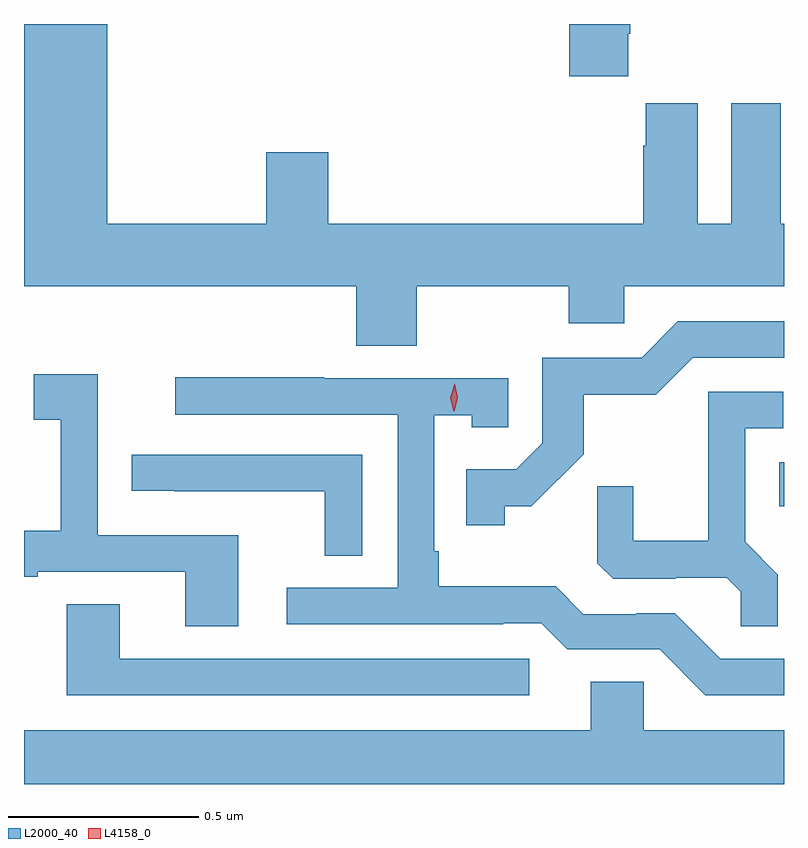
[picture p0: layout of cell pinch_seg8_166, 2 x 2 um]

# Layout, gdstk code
import gdstk
lib = gdstk.Library(unit=1e-6, precision=1e-09)
def R(c, l, rs):  # rectangles x0, y0, x1, y1
    for r in rs: c.add(gdstk.rectangle(r[:2], r[2:], *l))
def P(c, l, *ps):  # polygons
    for p in ps: c.add(gdstk.Polygon(p, *l))
L2000_40 = (2000, 40)
L4158_0 = (4158, 0)

pinch_seg8_166 = lib.new_cell('pinch_seg8_166')
R(pinch_seg8_166, L2000_40, [(657.866,1146.557,657.879,1146.673)])
P(pinch_seg8_166, L2000_40, [(657.469,1147.801),(657.474,1147.801),(657.474,1147.826),(657.314,1147.826),(657.314,1147.689),(657.469,1147.689)],
  [(656.913,1147.136),(657.313,1147.136),(657.313,1147.038),(657.459,1147.038),(657.459,1147.136),(657.879,1147.136),(657.879,1147.3),(657.871,1147.3),(657.871,1147.618),(657.74,1147.618),(657.74,1147.3),(657.652,1147.3),(657.652,1147.618),(657.515,1147.618),(657.515,1147.505),(657.509,1147.505),(657.509,1147.3),(656.68,1147.3),(656.68,1147.489),(656.516,1147.489),(656.516,1147.3),(656.098,1147.3),(656.098,1147.826),(655.879,1147.826),(655.879,1147.136),(656.753,1147.136),(656.753,1146.979),(656.913,1146.979)],
  [(657.144,1146.557),(657.214,1146.557),(657.352,1146.694),(657.352,1146.85),(657.541,1146.85),(657.639,1146.948),(657.879,1146.948),(657.879,1147.044),(657.6,1147.044),(657.504,1146.948),(657.243,1146.948),(657.243,1146.723),(657.174,1146.654),(657.043,1146.654),(657.043,1146.507),(657.144,1146.507)],
  [(656.443,1146.48),(656.073,1146.48),(656.073,1146.904),(655.905,1146.904),(655.905,1146.784),(655.976,1146.784),(655.976,1146.493),(655.88,1146.493),(655.88,1146.48),(655.879,1146.48),(655.879,1146.372),(655.915,1146.372),(655.915,1146.384),(656.303,1146.384),(656.303,1146.241),(656.443,1146.241)],
  [(657.879,1146.156),(657.711,1146.156),(657.591,1146.276),(657.49,1146.276),(657.49,1146.273),(657.351,1146.273),(657.278,1146.346),(656.971,1146.346),(656.971,1146.439),(656.958,1146.439),(656.958,1146.797),(657.057,1146.797),(657.057,1146.765),(657.153,1146.765),(657.153,1146.894),(656.669,1146.894),(656.669,1146.897),(656.277,1146.897),(656.277,1146.798),(656.862,1146.798),(656.862,1146.342),(656.571,1146.342),(656.571,1146.246),(657.14,1146.246),(657.14,1146.249),(657.24,1146.249),(657.309,1146.18),(657.552,1146.18),(657.672,1146.06),(657.879,1146.06)],
  [(657.863,1146.377),(657.777,1146.463),(657.777,1146.762),(657.877,1146.762),(657.877,1146.858),(657.68,1146.858),(657.68,1146.466),(657.482,1146.466),(657.482,1146.609),(657.388,1146.609),(657.388,1146.407),(657.429,1146.366),(657.594,1146.366),(657.594,1146.369),(657.728,1146.369),(657.765,1146.332),(657.765,1146.241),(657.863,1146.241)],
  [(656.769,1146.693),(656.163,1146.693),(656.163,1146.598),(656.275,1146.598),(656.275,1146.597),(656.671,1146.597),(656.671,1146.427),(656.769,1146.427)],
  [(657.208,1146.156),(656.131,1146.156),(656.131,1146.299),(655.991,1146.299),(655.991,1146.06),(657.208,1146.06)],
  [(657.879,1145.968),(657.51,1145.968),(657.51,1146.095),(657.371,1146.095),(657.371,1145.968),(655.879,1145.968),(655.879,1145.826),(657.879,1145.826)])
P(pinch_seg8_166, L4158_0, [(657.01,1146.807),(657.001,1146.843),(657.012,1146.879),(657.012,1146.879),(657.012,1146.879),(657.021,1146.843),(657.011,1146.807),(657.011,1146.807)])

lib.write_gds('pinch_seg8_166.gds')
